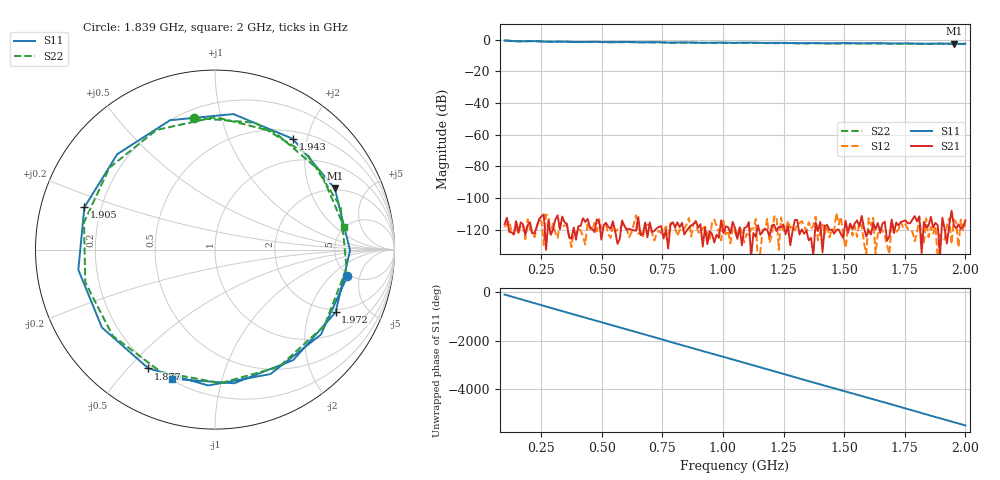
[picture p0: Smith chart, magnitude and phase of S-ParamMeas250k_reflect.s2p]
!Keysight Technologies,N5242B,MY48420967,A.15.65.19
!Date: Saturday, December 17, 2022 01:45:39
!Correction: S11(C  2-Port  )
!S21(C  2-Port  )
!S12(C  2-Port  )
!S22(C  2-Port  )
!S2P File: Measurements: S11, S21, S12, S22:
# Hz S  dB  R 50
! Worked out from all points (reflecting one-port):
!   201 points, 100 MHz to 2 GHz, reference 50 ohm
!   lowest |S11| = -2.5 dB at 1.952 GHz (marker M1), VSWR 6.98, Z = 96.8 + j150 ohm
!   phase of S11 starts at -102 deg and turns -5407 deg over the sweep
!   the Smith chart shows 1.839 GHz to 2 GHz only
!   S11 on the Smith chart (normalised r, x): 1.839 GHz: 4.78, -3.26; 1.877 GHz: 0.18, -0.57; 1.905 GHz: 0.14, +0.15; 1.943 GHz: 0.61, +1.76; 1.972 GHz: 1.86, -3.04; 2 GHz: 0.21, -0.70
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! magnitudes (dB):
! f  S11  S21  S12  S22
! 100 MHz  -0.4  -116.4  -118.3  -0.4
! 157 MHz  -0.9  -121.4  -123.3  -0.9
! 214 MHz  -0.8  -122.3  -122.0  -0.8
! 290 MHz  -1.2  -123.2  -122.5  -1.3
! 347 MHz  -1.1  -115.3  -117.3  -1.1
! 423 MHz  -1.4  -112.7  -124.2  -1.4
! 736.5 MHz  -1.5  -118.2  -120.7  -1.6
! 784 MHz  -1.8  -117.1  -115.8  -1.8
! 841 MHz  -1.6  -123.1  -119.2  -1.8
! 1.05 GHz  -1.9  -118.8  -121.6  -2.0
! 1.097 GHz  -1.7  -118.4  -122.6  -2.0
! 1.297 GHz  -2.2  -113.9  -120.4  -2.2
! 1.373 GHz  -2.1  -136.3  -117.4  -2.2
! 1.639 GHz  -2.1  -115.8  -122.5  -2.4
! 1.687 GHz  -2.3  -124.2  -135.5  -2.4
! 1.839 GHz  -2.5  -118.5  -112.8  -2.6
! 1.877 GHz  -2.4  -115.7  -117.6  -2.6
! 1.905 GHz  -2.3  -112.4  -126.9  -2.6
! 1.943 GHz  -2.4  -108.0  -129.1  -2.6
! 1.952 GHz  -2.5  -117.3  -113.7  -2.6
! 1.972 GHz  -2.4  -116.7  -131.0  -2.6
! 2 GHz  -2.4  -114.1  -115.5  -2.7
